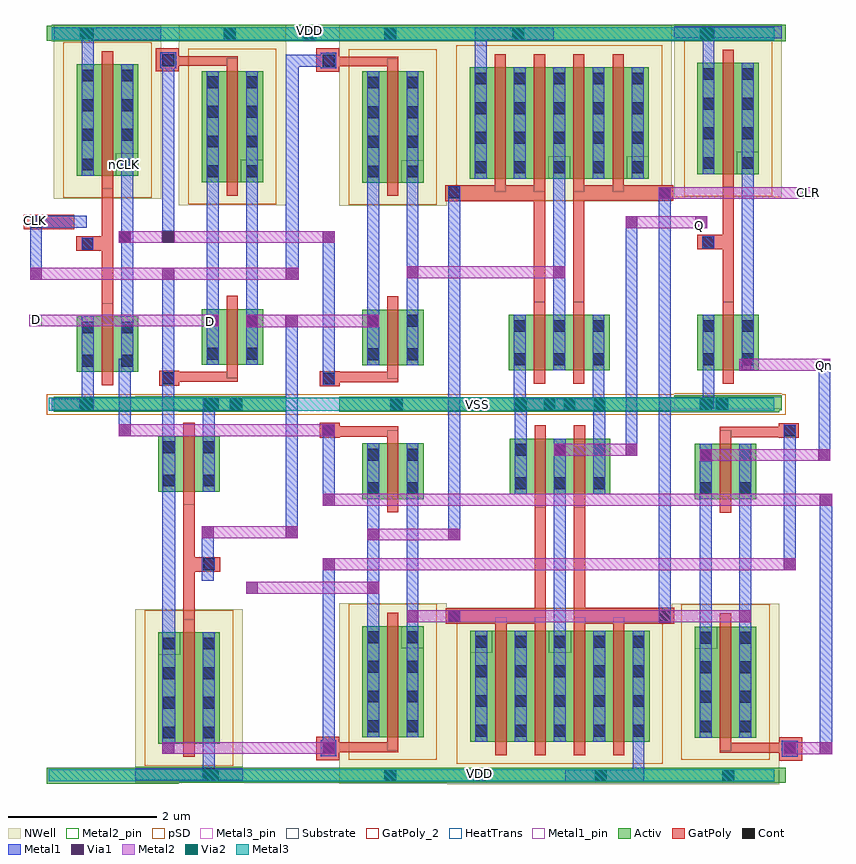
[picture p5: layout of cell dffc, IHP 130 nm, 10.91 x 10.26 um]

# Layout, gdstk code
from math import pi, radians
import gdstk
lib = gdstk.Library(unit=1e-6, precision=5e-09)
def R(c, l, rs):  # rectangles x0, y0, x1, y1
    for r in rs: c.add(gdstk.rectangle(r[:2], r[2:], *l))
def A(c, l, x, y, w, h, nx, ny, dx, dy):  # array of equal rectangles
    R(c, l, [(x+i*dx, y+j*dy, x+i*dx+w, y+j*dy+h) for i in range(nx) for j in range(ny)])
Activ = (1, 0)
GatPoly = (5, 0)
GatPoly_2 = (5, 2)
Cont = (6, 0)
Metal1 = (8, 0)
Metal1_pin = (8, 2)
Metal2 = (10, 0)
Metal2_pin = (10, 2)
pSD = (14, 0)
Via1 = (19, 0)
Via2 = (29, 0)
Metal3 = (30, 0)
Metal3_pin = (30, 2)
NWell = (31, 0)
Substrate = (40, 0)
HeatTrans = (51, 0)

pmos_1_10 = lib.new_cell('pmos$1$10')
R(pmos_1_10, Activ, [(0,0,0.3,0.3), (0,0,0.83,1.5), (0.53,0,0.83,0.3)])
R(pmos_1_10, GatPoly, [(0.34,-0.18,0.49,1.68), (0.34,-0.18,0.49,1.68)])
A(pmos_1_10, Cont, 0.07, 0.07, 0.16, 0.16, 1, 4, 0, 0.4)
A(pmos_1_10, Cont, 0.6, 0.07, 0.16, 0.16, 1, 4, 0, 0.4)
R(pmos_1_10, Metal1, [(0.07,0,0.23,1.5), (0.07,0,0.23,1.5), (0.6,0,0.76,1.5), (0.6,0,0.76,1.5)])
R(pmos_1_10, pSD, [(-0.18,-0.3,1.01,1.8)])
R(pmos_1_10, NWell, [(-0.31,-0.31,1.14,1.81)])
R(pmos_1_10, Substrate, [(0.53,0,0.83,0.3)])
R(pmos_1_10, HeatTrans, [(0.34,-0.18,0.49,1.68)])
pmos_1_10.add(gdstk.Label('pmos', (0.415,0.75), layer=63, texttype=0))
pmos_1_10.add(gdstk.Label('pmos', (0.415,0.75), layer=51, texttype=0))

nmos_1_7 = lib.new_cell('nmos$1$7')
R(nmos_1_7, Activ, [(0,0,0.3,0.3), (0,0,0.83,0.75), (0.53,0,0.83,0.3)])
R(nmos_1_7, GatPoly, [(0.34,-0.18,0.49,0.93)])
R(nmos_1_7, GatPoly_2, [(0.34,-0.18,0.49,0.93)])
R(nmos_1_7, Cont, [(0.07,0.07,0.23,0.23), (0.6,0.07,0.76,0.23), (0.07,0.52,0.23,0.68), (0.6,0.52,0.76,0.68)])
R(nmos_1_7, Metal1, [(0.07,0,0.23,0.75), (0.6,0,0.76,0.75)])
R(nmos_1_7, Metal1_pin, [(0.07,0,0.23,0.75), (0.6,0,0.76,0.75)])
R(nmos_1_7, HeatTrans, [(0.34,-0.18,0.49,0.93)])
nmos_1_7.add(gdstk.Label('nmos', (0.415,0.375), layer=63, texttype=0))
nmos_1_7.add(gdstk.Label('nmos', (0.415,0.375), layer=51, texttype=0))

tg_7 = lib.new_cell('tg$7')
R(tg_7, Activ, [(-1.3,-0.425,0.15,-0.22), (-1.3,4.58,0.15,4.78)])
R(tg_7, GatPoly, [(-1.56,-0.075,-1.29,0.125), (-1.29,-0.025,-0.5,0.115), (-1.61,4.165,-1.3,4.48), (-1.3,4.24,-0.5,4.37)])
R(tg_7, Cont, [(-0.61,-0.405,-0.44,-0.24), (-1.52,-0.055,-1.36,0.105), (-1.52,4.235,-1.36,4.395), (-0.69,4.6,-0.53,4.76), (-0.69,4.6,-0.53,4.76)])
R(tg_7, Metal1, [(-0.61,-0.405,-0.44,-0.24), (-1.52,-0.055,-1.36,0.105), (-0.92,0.725,-0.76,0.885), (-0.39,0.725,-0.23,0.885), (-0.92,0.955,-0.76,2.67), (-0.39,0.955,-0.23,2.67), (-1.55,4.21,-1.335,4.425), (-0.69,4.6,-0.53,4.76)])
R(tg_7, Metal1_pin, [(-0.61,-0.405,-0.44,-0.24), (-1.52,-0.055,-1.36,0.105), (-0.92,0.725,-0.76,0.885), (-0.39,0.725,-0.23,0.885), (-1.52,4.235,-1.36,4.395), (-0.69,4.6,-0.53,4.76)])
R(tg_7, pSD, [(-1.3,-0.455,0.15,-0.19)])
R(tg_7, NWell, [(-1.3,4.48,0.15,4.795)])
tg_7.add(gdstk.Reference(pmos_1_10, (-0.99,2.67)))
tg_7.add(gdstk.Reference(nmos_1_7, (-0.99,0.205)))
tg_7.add(gdstk.Label('E', (-1.405,0.045), layer=8, texttype=2))
tg_7.add(gdstk.Label('N_E', (-1.48,4.305), layer=8, texttype=2))
tg_7.add(gdstk.Label('VIN', (-0.84,0.81), layer=8, texttype=2))
tg_7.add(gdstk.Label('VOUT', (-0.305,0.765), layer=8, texttype=2))
tg_7.add(gdstk.Label('vdd', (-0.61,4.665), layer=8, texttype=2))
tg_7.add(gdstk.Label('vss', (-0.545,-0.35), layer=8, texttype=2))

pmos_1_11 = lib.new_cell('pmos$1$11')
R(pmos_1_11, Activ, [(0,0,0.3,0.3), (0,0,0.83,1.5), (0.53,0,0.83,0.3)])
R(pmos_1_11, GatPoly, [(0.34,-0.18,0.49,1.68), (0.34,-0.18,0.49,1.68)])
A(pmos_1_11, Cont, 0.07, 0.07, 0.16, 0.16, 1, 4, 0, 0.4)
A(pmos_1_11, Cont, 0.6, 0.07, 0.16, 0.16, 1, 4, 0, 0.4)
R(pmos_1_11, Metal1, [(0.07,0,0.23,1.5), (0.07,0,0.23,1.5), (0.6,0,0.76,1.5), (0.6,0,0.76,1.5)])
R(pmos_1_11, pSD, [(-0.18,-0.3,1.01,1.8)])
R(pmos_1_11, NWell, [(-0.31,-0.31,1.14,1.81)])
R(pmos_1_11, Substrate, [(0.53,0,0.83,0.3)])
R(pmos_1_11, HeatTrans, [(0.34,-0.18,0.49,1.68)])
pmos_1_11.add(gdstk.Label('pmos', (0.415,0.75), layer=63, texttype=0))
pmos_1_11.add(gdstk.Label('pmos', (0.415,0.75), layer=51, texttype=0))

nmos_1_8 = lib.new_cell('nmos$1$8')
R(nmos_1_8, Activ, [(0,0,0.3,0.3), (0,0,0.83,0.75), (0.53,0,0.83,0.3)])
R(nmos_1_8, GatPoly, [(0.34,-0.18,0.49,0.93)])
R(nmos_1_8, GatPoly_2, [(0.34,-0.18,0.49,0.93)])
R(nmos_1_8, Cont, [(0.07,0.07,0.23,0.23), (0.6,0.07,0.76,0.23), (0.07,0.52,0.23,0.68), (0.6,0.52,0.76,0.68)])
R(nmos_1_8, Metal1, [(0.07,0,0.23,0.75), (0.6,0,0.76,0.75)])
R(nmos_1_8, Metal1_pin, [(0.07,0,0.23,0.75), (0.6,0,0.76,0.75)])
R(nmos_1_8, HeatTrans, [(0.34,-0.18,0.49,0.93)])
nmos_1_8.add(gdstk.Label('nmos', (0.415,0.375), layer=63, texttype=0))
nmos_1_8.add(gdstk.Label('nmos', (0.415,0.375), layer=51, texttype=0))

tg_8 = lib.new_cell('tg$8')
R(tg_8, Activ, [(-1.3,-0.425,0.15,-0.22), (-1.3,4.58,0.15,4.78)])
R(tg_8, GatPoly, [(-1.56,-0.075,-1.29,0.125), (-1.29,-0.025,-0.5,0.115), (-1.61,4.165,-1.3,4.48), (-1.3,4.24,-0.5,4.37)])
R(tg_8, Cont, [(-0.61,-0.405,-0.44,-0.24), (-1.52,-0.055,-1.36,0.105), (-1.52,4.235,-1.36,4.395), (-0.69,4.6,-0.53,4.76), (-0.69,4.6,-0.53,4.76)])
R(tg_8, Metal1, [(-0.61,-0.405,-0.44,-0.24), (-1.52,-0.055,-1.36,0.105), (-0.92,0.725,-0.76,0.885), (-0.39,0.725,-0.23,0.885), (-0.92,0.955,-0.76,2.67), (-0.39,0.955,-0.23,2.67), (-1.55,4.21,-1.335,4.425), (-0.69,4.6,-0.53,4.76)])
R(tg_8, Metal1_pin, [(-0.61,-0.405,-0.44,-0.24), (-1.52,-0.055,-1.36,0.105), (-0.92,0.725,-0.76,0.885), (-0.39,0.725,-0.23,0.885), (-1.52,4.235,-1.36,4.395), (-0.69,4.6,-0.53,4.76)])
R(tg_8, pSD, [(-1.3,-0.455,0.15,-0.19)])
R(tg_8, NWell, [(-1.3,4.48,0.15,4.795)])
tg_8.add(gdstk.Reference(pmos_1_11, (-0.99,2.67)))
tg_8.add(gdstk.Reference(nmos_1_8, (-0.99,0.205)))
tg_8.add(gdstk.Label('E', (-1.405,0.045), layer=8, texttype=2))
tg_8.add(gdstk.Label('N_E', (-1.48,4.305), layer=8, texttype=2))
tg_8.add(gdstk.Label('VIN', (-0.84,0.81), layer=8, texttype=2))
tg_8.add(gdstk.Label('VOUT', (-0.305,0.765), layer=8, texttype=2))
tg_8.add(gdstk.Label('vdd', (-0.61,4.665), layer=8, texttype=2))
tg_8.add(gdstk.Label('vss', (-0.545,-0.35), layer=8, texttype=2))

pmos_1_12 = lib.new_cell('pmos$1$12')
R(pmos_1_12, Activ, [(0,0,0.3,0.3), (0,0,0.83,1.5), (0.53,0,0.83,0.3)])
R(pmos_1_12, GatPoly, [(0.34,-0.18,0.49,1.68), (0.34,-0.18,0.49,1.68)])
A(pmos_1_12, Cont, 0.07, 0.07, 0.16, 0.16, 1, 4, 0, 0.4)
A(pmos_1_12, Cont, 0.6, 0.07, 0.16, 0.16, 1, 4, 0, 0.4)
R(pmos_1_12, Metal1, [(0.07,0,0.23,1.5), (0.07,0,0.23,1.5), (0.6,0,0.76,1.5), (0.6,0,0.76,1.5)])
R(pmos_1_12, pSD, [(-0.18,-0.3,1.01,1.8)])
R(pmos_1_12, NWell, [(-0.31,-0.31,1.14,1.81)])
R(pmos_1_12, Substrate, [(0.53,0,0.83,0.3)])
R(pmos_1_12, HeatTrans, [(0.34,-0.18,0.49,1.68)])
pmos_1_12.add(gdstk.Label('pmos', (0.415,0.75), layer=63, texttype=0))
pmos_1_12.add(gdstk.Label('pmos', (0.415,0.75), layer=51, texttype=0))

nmos_1_9 = lib.new_cell('nmos$1$9')
R(nmos_1_9, Activ, [(0,0,0.3,0.3), (0,0,0.83,0.75), (0.53,0,0.83,0.3)])
R(nmos_1_9, GatPoly, [(0.34,-0.18,0.49,0.93)])
R(nmos_1_9, GatPoly_2, [(0.34,-0.18,0.49,0.93)])
R(nmos_1_9, Cont, [(0.07,0.07,0.23,0.23), (0.6,0.07,0.76,0.23), (0.07,0.52,0.23,0.68), (0.6,0.52,0.76,0.68)])
R(nmos_1_9, Metal1, [(0.07,0,0.23,0.75), (0.6,0,0.76,0.75)])
R(nmos_1_9, Metal1_pin, [(0.07,0,0.23,0.75), (0.6,0,0.76,0.75)])
R(nmos_1_9, HeatTrans, [(0.34,-0.18,0.49,0.93)])
nmos_1_9.add(gdstk.Label('nmos', (0.415,0.375), layer=63, texttype=0))
nmos_1_9.add(gdstk.Label('nmos', (0.415,0.375), layer=51, texttype=0))

tg_9 = lib.new_cell('tg$9')
R(tg_9, Activ, [(-1.3,-0.425,0.15,-0.22), (-1.3,4.58,0.15,4.78)])
R(tg_9, GatPoly, [(-1.56,-0.075,-1.29,0.125), (-1.29,-0.025,-0.5,0.115), (-1.61,4.165,-1.3,4.48), (-1.3,4.24,-0.5,4.37)])
R(tg_9, Cont, [(-0.61,-0.405,-0.44,-0.24), (-1.52,-0.055,-1.36,0.105), (-1.52,4.235,-1.36,4.395), (-0.69,4.6,-0.53,4.76), (-0.69,4.6,-0.53,4.76)])
R(tg_9, Metal1, [(-0.61,-0.405,-0.44,-0.24), (-1.52,-0.055,-1.36,0.105), (-0.92,0.725,-0.76,0.885), (-0.39,0.725,-0.23,0.885), (-0.92,0.955,-0.76,2.67), (-0.39,0.955,-0.23,2.67), (-1.55,4.21,-1.335,4.425), (-0.69,4.6,-0.53,4.76)])
R(tg_9, Metal1_pin, [(-0.61,-0.405,-0.44,-0.24), (-1.52,-0.055,-1.36,0.105), (-0.92,0.725,-0.76,0.885), (-0.39,0.725,-0.23,0.885), (-1.52,4.235,-1.36,4.395), (-0.69,4.6,-0.53,4.76)])
R(tg_9, pSD, [(-1.3,-0.455,0.15,-0.19)])
R(tg_9, NWell, [(-1.3,4.48,0.15,4.795)])
tg_9.add(gdstk.Reference(pmos_1_12, (-0.99,2.67)))
tg_9.add(gdstk.Reference(nmos_1_9, (-0.99,0.205)))
tg_9.add(gdstk.Label('E', (-1.405,0.045), layer=8, texttype=2))
tg_9.add(gdstk.Label('N_E', (-1.48,4.305), layer=8, texttype=2))
tg_9.add(gdstk.Label('VIN', (-0.84,0.81), layer=8, texttype=2))
tg_9.add(gdstk.Label('VOUT', (-0.305,0.765), layer=8, texttype=2))
tg_9.add(gdstk.Label('vdd', (-0.61,4.665), layer=8, texttype=2))
tg_9.add(gdstk.Label('vss', (-0.545,-0.35), layer=8, texttype=2))

pmos_3 = lib.new_cell('pmos$3')
A(pmos_3, Activ, 0, 0, 0.3, 0.3, 3, 1, 0.53, 0)
R(pmos_3, Activ, [(0,0,1.36,1.5)])
R(pmos_3, GatPoly, [(0.34,-0.18,0.49,1.68), (0.34,-0.18,0.49,1.68), (0.87,-0.18,1.02,1.68)])
A(pmos_3, Cont, 0.07, 0.07, 0.16, 0.16, 3, 4, 0.53, 0.4)
R(pmos_3, Metal1, [(0.07,0,0.23,1.5), (0.07,0,0.23,1.5), (0.6,0,0.76,1.5), (0.6,0,0.76,1.5), (1.13,0,1.29,1.5)])
R(pmos_3, pSD, [(-0.18,-0.3,1.54,1.8)])
R(pmos_3, NWell, [(-0.31,-0.31,1.67,1.81)])
R(pmos_3, Substrate, [(1.06,0,1.36,0.3)])
R(pmos_3, HeatTrans, [(0.34,-0.18,0.49,1.68), (0.87,-0.18,1.02,1.68)])
pmos_3.add(gdstk.Label('pmos', (0.415,0.75), layer=63, texttype=0))
pmos_3.add(gdstk.Label('pmos', (0.415,0.75), layer=51, texttype=0))
pmos_3.add(gdstk.Label('pmos', (0.945,0.75), layer=51, texttype=0))

nmos_2_2 = lib.new_cell('nmos$2$2')
R(nmos_2_2, Activ, [(0,0,0.3,0.3), (0,0,0.83,0.75), (0.53,0,0.83,0.3)])
R(nmos_2_2, GatPoly, [(0.34,-0.18,0.49,0.93)])
R(nmos_2_2, GatPoly_2, [(0.34,-0.18,0.49,0.93)])
R(nmos_2_2, Cont, [(0.07,0.07,0.23,0.23), (0.6,0.07,0.76,0.23), (0.07,0.52,0.23,0.68), (0.6,0.52,0.76,0.68)])
R(nmos_2_2, Metal1, [(0.07,0,0.23,0.75), (0.6,0,0.76,0.75)])
R(nmos_2_2, Metal1_pin, [(0.07,0,0.23,0.75), (0.6,0,0.76,0.75)])
R(nmos_2_2, HeatTrans, [(0.34,-0.18,0.49,0.93)])
nmos_2_2.add(gdstk.Label('nmos', (0.415,0.375), layer=63, texttype=0))
nmos_2_2.add(gdstk.Label('nmos', (0.415,0.375), layer=51, texttype=0))

nor2_2 = lib.new_cell('nor2$2')
R(nor2_2, Activ, [(-2.835,0.395,0.19,0.595), (-2.8,5.395,0.24,5.6)])
R(nor2_2, GatPoly, [(-1.655,1.885,-1.505,3.51), (-1.125,1.885,-0.975,3.51), (-2.855,3.235,-1.655,3.455), (-1.125,3.245,0.225,3.455)])
R(nor2_2, Cont, [(-1.255,0.415,-1.095,0.575), (0.03,3.27,0.19,3.43), (-2.81,3.28,-2.65,3.44), (-1.945,5.42,-1.785,5.58)])
R(nor2_2, Metal1, [(-1.925,0.415,-0.705,0.575), (-1.925,0.415,-1.765,1.185), (-1.255,0.415,-1.095,0.575), (-0.865,0.415,-0.705,1.185), (-1.395,1.47,-1.235,3.77), (0.03,3.27,0.19,3.43), (-2.81,3.28,-2.65,3.44), (-2.455,4.82,-2.295,5.58), (-2.455,5.42,-1.385,5.58), (-1.945,5.42,-1.79,5.58)])
R(nor2_2, Metal1_pin, [(-1.255,0.415,-1.095,0.575), (0.03,3.27,0.19,3.43), (-2.81,3.28,-2.65,3.44), (-1.395,3.62,-1.235,3.78), (-1.94,5.42,-1.785,5.58)])
R(nor2_2, pSD, [(-2.835,0.365,0.19,0.625)])
R(nor2_2, NWell, [(-2.835,5.355,0.205,5.615)])
nor2_2.add(gdstk.Reference(pmos_3, (-1.465,3.545)))
nor2_2.add(gdstk.Reference(pmos_3, (-2.525,3.545)))
nor2_2.add(gdstk.Reference(nmos_2_2, (-1.995,0.955)))
nor2_2.add(gdstk.Reference(nmos_2_2, (-1.465,0.955)))
nor2_2.add(gdstk.Label('vdd', (-1.865,5.5), layer=8, texttype=2))
nor2_2.add(gdstk.Label('out', (-1.315,3.705), layer=8, texttype=2))
nor2_2.add(gdstk.Label('B', (-0.745,3.41), layer=8, texttype=2))
nor2_2.add(gdstk.Label('A', (-1.87,3.41), layer=8, texttype=2))
nor2_2.add(gdstk.Label('vss', (-1.23,0.47), layer=8, texttype=2))

pmos_2 = lib.new_cell('pmos$2')
A(pmos_2, Activ, 0, 0, 0.3, 0.3, 3, 1, 0.53, 0)
R(pmos_2, Activ, [(0,0,1.36,1.5)])
R(pmos_2, GatPoly, [(0.34,-0.18,0.49,1.68), (0.34,-0.18,0.49,1.68), (0.87,-0.18,1.02,1.68)])
A(pmos_2, Cont, 0.07, 0.07, 0.16, 0.16, 3, 4, 0.53, 0.4)
R(pmos_2, Metal1, [(0.07,0,0.23,1.5), (0.07,0,0.23,1.5), (0.6,0,0.76,1.5), (0.6,0,0.76,1.5), (1.13,0,1.29,1.5)])
R(pmos_2, pSD, [(-0.18,-0.3,1.54,1.8)])
R(pmos_2, NWell, [(-0.31,-0.31,1.67,1.81)])
R(pmos_2, Substrate, [(1.06,0,1.36,0.3)])
R(pmos_2, HeatTrans, [(0.34,-0.18,0.49,1.68), (0.87,-0.18,1.02,1.68)])
pmos_2.add(gdstk.Label('pmos', (0.415,0.75), layer=63, texttype=0))
pmos_2.add(gdstk.Label('pmos', (0.415,0.75), layer=51, texttype=0))
pmos_2.add(gdstk.Label('pmos', (0.945,0.75), layer=51, texttype=0))

nmos_2_1 = lib.new_cell('nmos$2$1')
R(nmos_2_1, Activ, [(0,0,0.3,0.3), (0,0,0.83,0.75), (0.53,0,0.83,0.3)])
R(nmos_2_1, GatPoly, [(0.34,-0.18,0.49,0.93)])
R(nmos_2_1, GatPoly_2, [(0.34,-0.18,0.49,0.93)])
R(nmos_2_1, Cont, [(0.07,0.07,0.23,0.23), (0.6,0.07,0.76,0.23), (0.07,0.52,0.23,0.68), (0.6,0.52,0.76,0.68)])
R(nmos_2_1, Metal1, [(0.07,0,0.23,0.75), (0.6,0,0.76,0.75)])
R(nmos_2_1, Metal1_pin, [(0.07,0,0.23,0.75), (0.6,0,0.76,0.75)])
R(nmos_2_1, HeatTrans, [(0.34,-0.18,0.49,0.93)])
nmos_2_1.add(gdstk.Label('nmos', (0.415,0.375), layer=63, texttype=0))
nmos_2_1.add(gdstk.Label('nmos', (0.415,0.375), layer=51, texttype=0))

nor2_1 = lib.new_cell('nor2$1')
R(nor2_1, Activ, [(-2.835,0.395,0.19,0.595), (-2.8,5.395,0.24,5.6)])
R(nor2_1, GatPoly, [(-1.655,1.885,-1.505,3.51), (-1.125,1.885,-0.975,3.51), (-2.855,3.235,-1.655,3.455), (-1.125,3.245,0.225,3.455)])
R(nor2_1, Cont, [(-1.255,0.415,-1.095,0.575), (0.03,3.27,0.19,3.43), (-2.81,3.28,-2.65,3.44), (-1.945,5.42,-1.785,5.58)])
R(nor2_1, Metal1, [(-1.925,0.415,-0.705,0.575), (-1.925,0.415,-1.765,1.185), (-1.255,0.415,-1.095,0.575), (-0.865,0.415,-0.705,1.185), (-1.395,1.47,-1.235,3.77), (0.03,3.27,0.19,3.43), (-2.81,3.28,-2.65,3.44), (-2.455,4.82,-2.295,5.58), (-2.455,5.42,-1.385,5.58), (-1.945,5.42,-1.79,5.58)])
R(nor2_1, Metal1_pin, [(-1.255,0.415,-1.095,0.575), (0.03,3.27,0.19,3.43), (-2.81,3.28,-2.65,3.44), (-1.395,3.62,-1.235,3.78), (-1.94,5.42,-1.785,5.58)])
R(nor2_1, pSD, [(-2.835,0.365,0.19,0.625)])
R(nor2_1, NWell, [(-2.835,5.355,0.205,5.615)])
nor2_1.add(gdstk.Reference(pmos_2, (-1.465,3.545)))
nor2_1.add(gdstk.Reference(pmos_2, (-2.525,3.545)))
nor2_1.add(gdstk.Reference(nmos_2_1, (-1.995,0.955)))
nor2_1.add(gdstk.Reference(nmos_2_1, (-1.465,0.955)))
nor2_1.add(gdstk.Label('vdd', (-1.865,5.5), layer=8, texttype=2))
nor2_1.add(gdstk.Label('out', (-1.315,3.705), layer=8, texttype=2))
nor2_1.add(gdstk.Label('B', (-0.745,3.41), layer=8, texttype=2))
nor2_1.add(gdstk.Label('A', (-1.87,3.41), layer=8, texttype=2))
nor2_1.add(gdstk.Label('vss', (-1.23,0.47), layer=8, texttype=2))

pmos_1_9 = lib.new_cell('pmos$1$9')
R(pmos_1_9, Activ, [(0,0,0.3,0.3), (0,0,0.83,1.5), (0.53,0,0.83,0.3)])
R(pmos_1_9, GatPoly, [(0.34,-0.18,0.49,1.68), (0.34,-0.18,0.49,1.68)])
A(pmos_1_9, Cont, 0.07, 0.07, 0.16, 0.16, 1, 4, 0, 0.4)
A(pmos_1_9, Cont, 0.6, 0.07, 0.16, 0.16, 1, 4, 0, 0.4)
R(pmos_1_9, Metal1, [(0.07,0,0.23,1.5), (0.07,0,0.23,1.5), (0.6,0,0.76,1.5), (0.6,0,0.76,1.5)])
R(pmos_1_9, pSD, [(-0.18,-0.3,1.01,1.8)])
R(pmos_1_9, NWell, [(-0.31,-0.31,1.14,1.81)])
R(pmos_1_9, Substrate, [(0.53,0,0.83,0.3)])
R(pmos_1_9, HeatTrans, [(0.34,-0.18,0.49,1.68)])
pmos_1_9.add(gdstk.Label('pmos', (0.415,0.75), layer=63, texttype=0))
pmos_1_9.add(gdstk.Label('pmos', (0.415,0.75), layer=51, texttype=0))

nmos_1_6 = lib.new_cell('nmos$1$6')
R(nmos_1_6, Activ, [(0,0,0.3,0.3), (0,0,0.83,0.75), (0.53,0,0.83,0.3)])
R(nmos_1_6, GatPoly, [(0.34,-0.18,0.49,0.93)])
R(nmos_1_6, GatPoly_2, [(0.34,-0.18,0.49,0.93)])
R(nmos_1_6, Cont, [(0.07,0.07,0.23,0.23), (0.6,0.07,0.76,0.23), (0.07,0.52,0.23,0.68), (0.6,0.52,0.76,0.68)])
R(nmos_1_6, Metal1, [(0.07,0,0.23,0.75), (0.6,0,0.76,0.75)])
R(nmos_1_6, Metal1_pin, [(0.07,0,0.23,0.75), (0.6,0,0.76,0.75)])
R(nmos_1_6, HeatTrans, [(0.34,-0.18,0.49,0.93)])
nmos_1_6.add(gdstk.Label('nmos', (0.415,0.375), layer=63, texttype=0))
nmos_1_6.add(gdstk.Label('nmos', (0.415,0.375), layer=51, texttype=0))

tg_6 = lib.new_cell('tg$6')
R(tg_6, Activ, [(-1.3,-0.425,0.15,-0.22), (-1.3,4.58,0.15,4.78)])
R(tg_6, GatPoly, [(-1.56,-0.075,-1.29,0.125), (-1.29,-0.025,-0.5,0.115), (-1.61,4.165,-1.3,4.48), (-1.3,4.24,-0.5,4.37)])
R(tg_6, Cont, [(-0.61,-0.405,-0.44,-0.24), (-1.52,-0.055,-1.36,0.105), (-1.52,4.235,-1.36,4.395), (-0.69,4.6,-0.53,4.76), (-0.69,4.6,-0.53,4.76)])
R(tg_6, Metal1, [(-0.61,-0.405,-0.44,-0.24), (-1.52,-0.055,-1.36,0.105), (-0.92,0.725,-0.76,0.885), (-0.39,0.725,-0.23,0.885), (-0.92,0.955,-0.76,2.67), (-0.39,0.955,-0.23,2.67), (-1.55,4.21,-1.335,4.425), (-0.69,4.6,-0.53,4.76)])
R(tg_6, Metal1_pin, [(-0.61,-0.405,-0.44,-0.24), (-1.52,-0.055,-1.36,0.105), (-0.92,0.725,-0.76,0.885), (-0.39,0.725,-0.23,0.885), (-1.52,4.235,-1.36,4.395), (-0.69,4.6,-0.53,4.76)])
R(tg_6, pSD, [(-1.3,-0.455,0.15,-0.19)])
R(tg_6, NWell, [(-1.3,4.48,0.15,4.795)])
tg_6.add(gdstk.Reference(pmos_1_9, (-0.99,2.67)))
tg_6.add(gdstk.Reference(nmos_1_6, (-0.99,0.205)))
tg_6.add(gdstk.Label('E', (-1.405,0.045), layer=8, texttype=2))
tg_6.add(gdstk.Label('N_E', (-1.48,4.305), layer=8, texttype=2))
tg_6.add(gdstk.Label('VIN', (-0.84,0.81), layer=8, texttype=2))
tg_6.add(gdstk.Label('VOUT', (-0.305,0.765), layer=8, texttype=2))
tg_6.add(gdstk.Label('vdd', (-0.61,4.665), layer=8, texttype=2))
tg_6.add(gdstk.Label('vss', (-0.545,-0.35), layer=8, texttype=2))

nmos_5 = lib.new_cell('nmos$5')
R(nmos_5, Activ, [(0,0,0.3,0.3), (0,0,0.83,0.75), (0.53,0,0.83,0.3)])
R(nmos_5, GatPoly, [(0.34,-0.18,0.49,0.93)])
R(nmos_5, GatPoly_2, [(0.34,-0.18,0.49,0.93)])
R(nmos_5, Cont, [(0.07,0.07,0.23,0.23), (0.6,0.07,0.76,0.23), (0.07,0.52,0.23,0.68), (0.6,0.52,0.76,0.68)])
R(nmos_5, Metal1, [(0.07,0,0.23,0.75), (0.6,0,0.76,0.75)])
R(nmos_5, Metal1_pin, [(0.07,0,0.23,0.75), (0.6,0,0.76,0.75)])
R(nmos_5, HeatTrans, [(0.34,-0.18,0.49,0.93)])
nmos_5.add(gdstk.Label('nmos', (0.415,0.375), layer=63, texttype=0))
nmos_5.add(gdstk.Label('nmos', (0.415,0.375), layer=51, texttype=0))

pmos_1_13 = lib.new_cell('pmos$1$13')
R(pmos_1_13, Activ, [(0,0,0.3,0.3), (0,0,0.83,1.5), (0.53,0,0.83,0.3)])
R(pmos_1_13, GatPoly, [(0.34,-0.18,0.49,1.68), (0.34,-0.18,0.49,1.68)])
A(pmos_1_13, Cont, 0.07, 0.07, 0.16, 0.16, 1, 4, 0, 0.4)
A(pmos_1_13, Cont, 0.6, 0.07, 0.16, 0.16, 1, 4, 0, 0.4)
R(pmos_1_13, Metal1, [(0.07,0,0.23,1.5), (0.07,0,0.23,1.5), (0.6,0,0.76,1.5), (0.6,0,0.76,1.5)])
R(pmos_1_13, pSD, [(-0.18,-0.3,1.01,1.8)])
R(pmos_1_13, NWell, [(-0.31,-0.31,1.14,1.81)])
R(pmos_1_13, Substrate, [(0.53,0,0.83,0.3)])
R(pmos_1_13, HeatTrans, [(0.34,-0.18,0.49,1.68)])
pmos_1_13.add(gdstk.Label('pmos', (0.415,0.75), layer=63, texttype=0))
pmos_1_13.add(gdstk.Label('pmos', (0.415,0.75), layer=51, texttype=0))

inverter_3 = lib.new_cell('inverter$3')
R(inverter_3, Activ, [(-0.46,-0.1,0.99,0.1), (-0.46,4.9,0.99,5.1)])
R(inverter_3, GatPoly, [(0.19,1.365,0.34,2.965), (-0.155,2.07,0.145,2.265), (0.145,2.07,0.19,2.265)])
R(inverter_3, Cont, [(-0.08,-0.08,0.08,0.08), (-0.085,2.085,0.075,2.245), (-0.08,4.92,0.08,5.08)])
R(inverter_3, Metal1, [(-0.08,-0.08,0.08,0.08), (-0.08,0.08,0.08,0.435), (0.45,0.96,0.61,3.37), (-0.085,2.085,0.075,2.245), (-0.08,4.585,0.08,4.92), (-0.46,4.92,-0.08,5.08), (-0.08,4.92,0.08,5.08), (0.08,4.92,0.99,5.08)])
R(inverter_3, Metal1_pin, [(-0.46,-0.08,0.99,0.08), (-0.08,-0.08,0.08,0.08), (-0.085,2.085,0.075,2.245), (0.45,3.155,0.61,3.315), (-0.46,4.92,0.99,5.08), (-0.08,4.92,0.08,5.08)])
R(inverter_3, pSD, [(-0.46,-0.13,0.99,0.13)])
R(inverter_3, NWell, [(-0.46,4.895,0.99,5.11)])
inverter_3.add(gdstk.Reference(nmos_5, (-0.15,0.435)))
inverter_3.add(gdstk.Reference(pmos_1_13, (-0.15,3.085)))
inverter_3.add(gdstk.Label('out', (0.505,3.25), layer=8, texttype=2))
inverter_3.add(gdstk.Label('VSS', (0.015,0.015), layer=8, texttype=2))
inverter_3.add(gdstk.Label('VDD', (-0.025,4.94), layer=8, texttype=2))
inverter_3.add(gdstk.Label('in', (-0.01,2.15), layer=8, texttype=2))

nmos_6 = lib.new_cell('nmos$6')
R(nmos_6, Activ, [(0,0,0.3,0.3), (0,0,0.83,0.75), (0.53,0,0.83,0.3)])
R(nmos_6, GatPoly, [(0.34,-0.18,0.49,0.93)])
R(nmos_6, GatPoly_2, [(0.34,-0.18,0.49,0.93)])
R(nmos_6, Cont, [(0.07,0.07,0.23,0.23), (0.6,0.07,0.76,0.23), (0.07,0.52,0.23,0.68), (0.6,0.52,0.76,0.68)])
R(nmos_6, Metal1, [(0.07,0,0.23,0.75), (0.6,0,0.76,0.75)])
R(nmos_6, Metal1_pin, [(0.07,0,0.23,0.75), (0.6,0,0.76,0.75)])
R(nmos_6, HeatTrans, [(0.34,-0.18,0.49,0.93)])
nmos_6.add(gdstk.Label('nmos', (0.415,0.375), layer=63, texttype=0))
nmos_6.add(gdstk.Label('nmos', (0.415,0.375), layer=51, texttype=0))

pmos_1_14 = lib.new_cell('pmos$1$14')
R(pmos_1_14, Activ, [(0,0,0.3,0.3), (0,0,0.83,1.5), (0.53,0,0.83,0.3)])
R(pmos_1_14, GatPoly, [(0.34,-0.18,0.49,1.68), (0.34,-0.18,0.49,1.68)])
A(pmos_1_14, Cont, 0.07, 0.07, 0.16, 0.16, 1, 4, 0, 0.4)
A(pmos_1_14, Cont, 0.6, 0.07, 0.16, 0.16, 1, 4, 0, 0.4)
R(pmos_1_14, Metal1, [(0.07,0,0.23,1.5), (0.07,0,0.23,1.5), (0.6,0,0.76,1.5), (0.6,0,0.76,1.5)])
R(pmos_1_14, pSD, [(-0.18,-0.3,1.01,1.8)])
R(pmos_1_14, NWell, [(-0.31,-0.31,1.14,1.81)])
R(pmos_1_14, Substrate, [(0.53,0,0.83,0.3)])
R(pmos_1_14, HeatTrans, [(0.34,-0.18,0.49,1.68)])
pmos_1_14.add(gdstk.Label('pmos', (0.415,0.75), layer=63, texttype=0))
pmos_1_14.add(gdstk.Label('pmos', (0.415,0.75), layer=51, texttype=0))

inverter_4 = lib.new_cell('inverter$4')
R(inverter_4, Activ, [(-0.46,-0.1,0.99,0.1), (-0.46,4.9,0.99,5.1)])
R(inverter_4, GatPoly, [(0.19,1.365,0.34,2.965), (-0.155,2.07,0.145,2.265), (0.145,2.07,0.19,2.265)])
R(inverter_4, Cont, [(-0.08,-0.08,0.08,0.08), (-0.085,2.085,0.075,2.245), (-0.08,4.92,0.08,5.08)])
R(inverter_4, Metal1, [(-0.08,-0.08,0.08,0.08), (-0.08,0.08,0.08,0.435), (0.45,0.96,0.61,3.37), (-0.085,2.085,0.075,2.245), (-0.08,4.585,0.08,4.92), (-0.46,4.92,-0.08,5.08), (-0.08,4.92,0.08,5.08), (0.08,4.92,0.99,5.08)])
R(inverter_4, Metal1_pin, [(-0.46,-0.08,0.99,0.08), (-0.08,-0.08,0.08,0.08), (-0.085,2.085,0.075,2.245), (0.45,3.155,0.61,3.315), (-0.46,4.92,0.99,5.08), (-0.08,4.92,0.08,5.08)])
R(inverter_4, pSD, [(-0.46,-0.13,0.99,0.13)])
R(inverter_4, NWell, [(-0.46,4.895,0.99,5.11)])
inverter_4.add(gdstk.Reference(nmos_6, (-0.15,0.435)))
inverter_4.add(gdstk.Reference(pmos_1_14, (-0.15,3.085)))
inverter_4.add(gdstk.Label('out', (0.505,3.25), layer=8, texttype=2))
inverter_4.add(gdstk.Label('VSS', (0.015,0.015), layer=8, texttype=2))
inverter_4.add(gdstk.Label('VDD', (-0.025,4.94), layer=8, texttype=2))
inverter_4.add(gdstk.Label('in', (-0.01,2.15), layer=8, texttype=2))

nmos_7 = lib.new_cell('nmos$7')
R(nmos_7, Activ, [(0,0,0.3,0.3), (0,0,0.83,0.75), (0.53,0,0.83,0.3)])
R(nmos_7, GatPoly, [(0.34,-0.18,0.49,0.93)])
R(nmos_7, GatPoly_2, [(0.34,-0.18,0.49,0.93)])
R(nmos_7, Cont, [(0.07,0.07,0.23,0.23), (0.6,0.07,0.76,0.23), (0.07,0.52,0.23,0.68), (0.6,0.52,0.76,0.68)])
R(nmos_7, Metal1, [(0.07,0,0.23,0.75), (0.6,0,0.76,0.75)])
R(nmos_7, Metal1_pin, [(0.07,0,0.23,0.75), (0.6,0,0.76,0.75)])
R(nmos_7, HeatTrans, [(0.34,-0.18,0.49,0.93)])
nmos_7.add(gdstk.Label('nmos', (0.415,0.375), layer=63, texttype=0))
nmos_7.add(gdstk.Label('nmos', (0.415,0.375), layer=51, texttype=0))

pmos_1_15 = lib.new_cell('pmos$1$15')
R(pmos_1_15, Activ, [(0,0,0.3,0.3), (0,0,0.83,1.5), (0.53,0,0.83,0.3)])
R(pmos_1_15, GatPoly, [(0.34,-0.18,0.49,1.68), (0.34,-0.18,0.49,1.68)])
A(pmos_1_15, Cont, 0.07, 0.07, 0.16, 0.16, 1, 4, 0, 0.4)
A(pmos_1_15, Cont, 0.6, 0.07, 0.16, 0.16, 1, 4, 0, 0.4)
R(pmos_1_15, Metal1, [(0.07,0,0.23,1.5), (0.07,0,0.23,1.5), (0.6,0,0.76,1.5), (0.6,0,0.76,1.5)])
R(pmos_1_15, pSD, [(-0.18,-0.3,1.01,1.8)])
R(pmos_1_15, NWell, [(-0.31,-0.31,1.14,1.81)])
R(pmos_1_15, Substrate, [(0.53,0,0.83,0.3)])
R(pmos_1_15, HeatTrans, [(0.34,-0.18,0.49,1.68)])
pmos_1_15.add(gdstk.Label('pmos', (0.415,0.75), layer=63, texttype=0))
pmos_1_15.add(gdstk.Label('pmos', (0.415,0.75), layer=51, texttype=0))

inverter_5 = lib.new_cell('inverter$5')
R(inverter_5, Activ, [(-0.46,-0.1,0.99,0.1), (-0.46,4.9,0.99,5.1)])
R(inverter_5, GatPoly, [(0.19,1.365,0.34,2.965), (-0.155,2.07,0.145,2.265), (0.145,2.07,0.19,2.265)])
R(inverter_5, Cont, [(-0.08,-0.08,0.08,0.08), (-0.085,2.085,0.075,2.245), (-0.08,4.92,0.08,5.08)])
R(inverter_5, Metal1, [(-0.08,-0.08,0.08,0.08), (-0.08,0.08,0.08,0.435), (0.45,0.96,0.61,3.37), (-0.085,2.085,0.075,2.245), (-0.08,4.585,0.08,4.92), (-0.46,4.92,-0.08,5.08), (-0.08,4.92,0.08,5.08), (0.08,4.92,0.99,5.08)])
R(inverter_5, Metal1_pin, [(-0.46,-0.08,0.99,0.08), (-0.08,-0.08,0.08,0.08), (-0.085,2.085,0.075,2.245), (0.45,3.155,0.61,3.315), (-0.46,4.92,0.99,5.08), (-0.08,4.92,0.08,5.08)])
R(inverter_5, pSD, [(-0.46,-0.13,0.99,0.13)])
R(inverter_5, NWell, [(-0.46,4.895,0.99,5.11)])
inverter_5.add(gdstk.Reference(nmos_7, (-0.15,0.435)))
inverter_5.add(gdstk.Reference(pmos_1_15, (-0.15,3.085)))
inverter_5.add(gdstk.Label('out', (0.505,3.25), layer=8, texttype=2))
inverter_5.add(gdstk.Label('VSS', (0.015,0.015), layer=8, texttype=2))
inverter_5.add(gdstk.Label('VDD', (-0.025,4.94), layer=8, texttype=2))
inverter_5.add(gdstk.Label('in', (-0.01,2.15), layer=8, texttype=2))

dffc = lib.new_cell('dffc')
R(dffc, Activ, [(-2.96,-5.445,-1.18,-5.23), (-2.96,-5.435,7.01,-5.23), (-2.895,4.57,7.01,4.795), (-2.96,4.58,-2.895,4.78)])
R(dffc, GatPoly, [(-3.27,2.035,-2.59,2.23)])
R(dffc, Cont, [(-1.985,1.85,-1.825,2.01), (-1.4,1.85,-1.24,2.01), (-3.185,2.055,-3.025,2.215)])
R(dffc, Metal1, [(7.47,-5.05,7.64,-1.535), (-1.4,-5.045,-1.24,0.105), (0.765,-4.92,0.925,-2.405), (5.3,-3.115,5.46,-2.715), (5.3,-2.86,5.46,2.605), (-0.865,-2.705,-0.705,-1.975), (6.985,-2.565,7.145,-0.6), (2.46,-2.16,2.62,0.31), (0.265,-2.135,0.425,0.885), (0.765,-1.695,0.925,-0.755), (7.455,-1.09,7.615,0.285), (4.85,-1.02,5.01,2.21), (-1.985,-0.755,-1.825,0.29), (-2.895,-0.41,-2.515,-0.25), (2.775,-0.41,2.965,-0.25), (0.765,-0.06,0.925,2.01), (-1.4,0.105,-1.24,1.515), (2.46,0.31,2.62,2.065), (-0.8,0.725,-0.64,0.955), (-0.27,0.885,-0.11,0.955), (-3.185,1.355,-3.025,2.055), (0.265,1.355,0.44,4.23), (-1.4,2.01,-1.24,4.235), (-3.185,2.055,-2.42,2.215), (2.46,2.065,2.62,2.455), (0.265,4.23,0.925,4.39)])
R(dffc, Metal1_pin, [(-3.185,2.055,-3.025,2.215)])
R(dffc, Metal2, [(4.435,-5.415,4.595,-5.255), (6.155,-5.415,6.315,-5.255), (-0.8,-5.41,-0.64,-5.25), (1.595,-5.41,1.755,-5.25), (2.795,-5.41,2.975,-5.25), (6.985,-5.05,7.64,-4.89), (-1.4,-5.045,0.925,-4.885), (1.895,-3.265,2.62,-3.105), (2.62,-3.265,6.545,-3.105), (-0.27,-2.88,1.525,-2.72), (0.765,-2.565,7.145,-2.405), (1.365,-2.16,2.62,-2.005), (-0.865,-2.135,0.425,-1.975), (0.765,-1.695,7.64,-1.535), (5.855,-1.09,7.615,-0.93), (3.885,-1.02,5.01,-0.86), (-1.985,-0.755,0.925,-0.595), (5.855,-0.415,6.015,-0.255), (6.065,-0.415,6.235,-0.25), (-2.515,-0.41,-2.355,-0.25), (1.675,-0.41,1.845,-0.245), (2.775,-0.41,2.965,-0.25), (3.355,-0.41,3.515,-0.25), (3.745,-0.41,3.905,-0.25), (4.015,-0.41,4.175,-0.25), (4.42,-0.41,4.575,-0.25), (-0.49,-0.405,-0.32,-0.24), (-0.8,-0.4,-0.64,-0.24), (6.385,0.125,7.615,0.285), (-0.27,0.715,1.525,0.885), (-3.195,0.725,-0.64,0.885), (-3.185,1.355,-1.24,1.515), (-1.24,1.355,0.44,1.515), (1.895,1.375,4.035,1.535), (-1.985,1.85,-1.4,2.01), (-1.24,1.85,0.925,2.01), (4.85,2.05,5.95,2.21), (5.3,2.445,7.405,2.605), (1.595,4.595,1.755,4.755), (3.325,4.595,3.485,4.755), (5.855,4.595,6.015,4.755), (-2.515,4.6,-2.355,4.76), (-0.57,4.6,-0.41,4.76), (0.495,4.6,0.675,4.76)])
R(dffc, Metal2_pin, [(7.455,0.12,7.615,0.285), (7.455,0.12,7.615,0.285), (-3.195,0.725,-3.03,0.885), (5.79,2.05,5.95,2.21), (5.79,2.05,5.95,2.21), (7.235,2.445,7.405,2.605), (7.235,2.445,7.405,2.605)])
R(dffc, pSD, [(-2.96,-0.465,7.01,-0.19), (-2.96,-0.46,-2.895,-0.2)])
R(dffc, Via1, [(4.435,-5.415,4.595,-5.255), (6.155,-5.415,6.315,-5.255), (-0.8,-5.41,-0.64,-5.25), (1.595,-5.41,1.755,-5.25), (2.795,-5.41,2.975,-5.25), (6.985,-5.05,7.145,-4.89), (7.47,-5.05,7.64,-4.89), (-1.4,-5.045,-1.24,-4.885), (0.765,-5.045,0.925,-4.885), (1.895,-3.265,2.055,-3.105), (2.46,-3.265,2.62,-3.105), (6.385,-3.265,6.545,-3.105), (-0.27,-2.88,-0.11,-2.72), (1.365,-2.88,1.525,-2.72), (0.765,-2.565,0.925,-2.405), (6.985,-2.565,7.145,-2.405), (1.365,-2.16,1.525,-2.005), (2.46,-2.16,2.62,-2.005), (-0.865,-2.135,-0.705,-1.975), (0.265,-2.135,0.425,-1.975), (0.765,-1.695,0.925,-1.535), (7.47,-1.695,7.64,-1.535), (5.855,-1.095,6.015,-0.93), (7.45,-1.09,7.615,-0.93), (3.885,-1.02,4.045,-0.86), (4.85,-1.02,5.01,-0.86), (-1.985,-0.755,-1.825,-0.595), (0.76,-0.755,0.925,-0.595), (5.855,-0.415,6.015,-0.255), (6.065,-0.415,6.235,-0.25), (-2.515,-0.41,-2.355,-0.25), (1.675,-0.41,1.845,-0.245), (2.775,-0.41,2.965,-0.25), (3.355,-0.41,3.515,-0.25), (3.745,-0.41,3.905,-0.25), (4.015,-0.41,4.175,-0.25), (4.42,-0.41,4.575,-0.25), (-0.49,-0.405,-0.32,-0.24), (-0.8,-0.4,-0.64,-0.24), (7.455,0.12,7.615,0.285), (6.385,0.125,6.545,0.285), (0.26,0.715,0.425,0.885), (1.365,0.72,1.525,0.88), (-0.8,0.725,-0.64,0.885), (-0.27,0.725,-0.11,0.885), (-3.185,1.355,-3.025,1.515), (-1.4,1.355,-1.24,1.515), (0.265,1.355,0.44,1.515), (1.895,1.375,2.055,1.535), (3.875,1.375,4.035,1.535), (-1.985,1.85,-1.825,2.01), (-1.4,1.85,-1.24,2.01), (0.765,1.85,0.925,2.01), (4.85,2.05,5.01,2.21), (5.79,2.05,5.95,2.21), (5.3,2.445,5.46,2.605), (1.595,4.595,1.755,4.755), (3.325,4.595,3.485,4.755), (5.855,4.595,6.015,4.755), (-2.515,4.6,-2.355,4.76), (-0.57,4.6,-0.41,4.76), (0.495,4.6,0.675,4.76)])
R(dffc, Via2, [(1.595,-5.415,1.755,-5.25), (4.435,-5.415,4.595,-5.255), (6.155,-5.415,6.315,-5.255), (-0.8,-5.41,-0.64,-5.25), (2.795,-5.41,2.975,-5.25), (5.855,-0.415,6.015,-0.255), (6.065,-0.415,6.235,-0.25), (-2.515,-0.41,-2.355,-0.25), (1.675,-0.41,1.845,-0.245), (2.775,-0.41,2.965,-0.25), (3.355,-0.41,3.515,-0.25), (3.745,-0.41,3.905,-0.25), (4.015,-0.41,4.175,-0.25), (4.42,-0.41,4.575,-0.25), (-0.49,-0.405,-0.32,-0.24), (-0.8,-0.4,-0.64,-0.24), (1.595,4.595,1.755,4.755), (3.325,4.595,3.485,4.755), (3.325,4.595,3.485,4.755), (5.855,4.595,6.015,4.755), (-2.515,4.6,-2.355,4.76), (-0.57,4.6,-0.41,4.76), (0.495,4.6,0.675,4.76)])
R(dffc, Metal3, [(-2.93,-5.415,6.855,-5.25), (-2.28,-5.41,-0.8,-5.25), (2.795,-5.41,2.975,-5.25), (-2.93,-0.415,6.855,-0.235), (2.775,-0.41,2.965,-0.25), (-2.355,4.585,6.855,4.76), (-2.895,4.595,-2.355,4.76), (0.495,4.6,0.675,4.76)])
R(dffc, Metal3_pin, [(2.795,-5.41,2.975,-5.25), (2.775,-0.41,2.965,-0.25), (0.495,4.6,0.675,4.76)])
dffc.add(gdstk.Reference(tg_7, (2.285,-0.005)))
dffc.add(gdstk.Reference(tg_8, (2.285,-0.65), x_reflection=True))
dffc.add(gdstk.Reference(tg_9, (5.625,-0.655), rotation=pi))
dffc.add(gdstk.Reference(nor2_2, (2.65,0.165), rotation=pi))
dffc.add(gdstk.Reference(nor2_1, (5.27,-0.825)))
dffc.add(gdstk.Reference(tg_6, (0.12,0)))
dffc.add(gdstk.Reference(inverter_3, (-2.405,-0.325)))
dffc.add(gdstk.Reference(inverter_4, (-0.775,-0.32), rotation=pi))
dffc.add(gdstk.Reference(inverter_5, (5.97,-0.305)))
dffc.add(gdstk.Label('CLK', (-3.105,2.16), layer=8, texttype=2))
dffc.add(gdstk.Label('nCLK', (-1.905,2.91), layer=8, texttype=2))
dffc.add(gdstk.Label('D', (-0.75,0.79), layer=8, texttype=2))
dffc.add(gdstk.Label('D', (-3.095,0.815), layer=10, texttype=2))
dffc.add(gdstk.Label('CLR', (7.32,2.525), layer=10, texttype=2))
dffc.add(gdstk.Label('Qn', (7.535,0.2), layer=10, texttype=2))
dffc.add(gdstk.Label('Q', (5.85,2.09), layer=10, texttype=2))
dffc.add(gdstk.Label('VDD', (2.88,-5.305), layer=30, texttype=2))
dffc.add(gdstk.Label('VSS', (2.85,-0.335), layer=30, texttype=2))
dffc.add(gdstk.Label('VDD', (0.59,4.72), layer=30, texttype=2))

lib.write_gds('dffc.gds')
